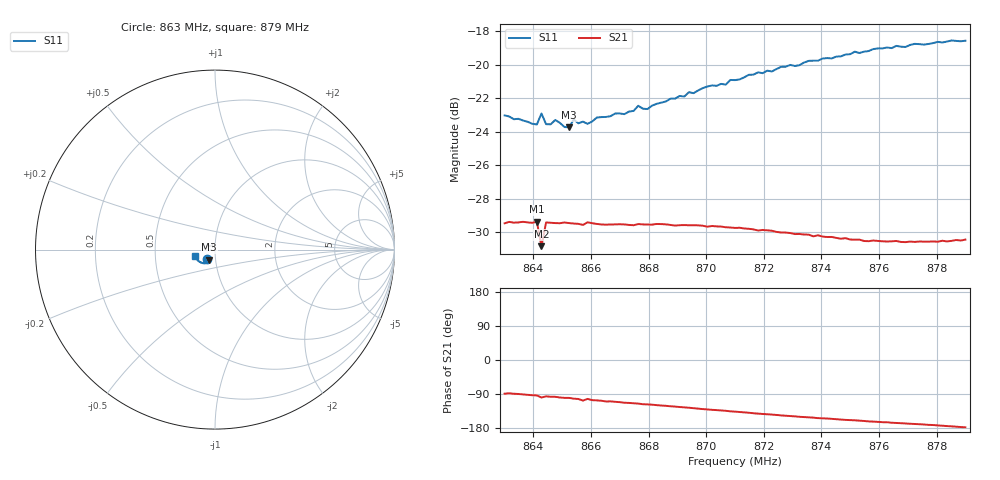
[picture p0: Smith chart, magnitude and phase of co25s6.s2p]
# HZ S RI R 50
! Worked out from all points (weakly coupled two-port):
!   101 points, 863 MHz to 879 MHz, reference 50 ohm
!   highest |S21| = -29.36 dB at 864.12 MHz (marker M1); lowest = -30.8 dB at 864.28 MHz (marker M2)
!   lowest |S11| = -23.7 dB at 865.24 MHz (marker M3), VSWR 1.14, Z = 46.6 - j5.26 ohm
!   |S11| at or under -10 dB: start of sweep to end of sweep
!   S12 and S22 are empty: the file has one direction only
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8.63e8  -0.044 -0.0551  0.000673 -0.0336  0 0  0 0
8.6412e8  -0.0382 -0.0542  -0.0021 -0.034  0 0  0 0
8.6428e8  -0.0431 -0.057  -0.0045 -0.0284  0 0  0 0
8.6444e8  -0.0392 -0.0536  -0.00352 -0.0337  0 0  0 0
8.646e8  -0.0378 -0.0546  -0.00419 -0.0335  0 0  0 0
8.6476e8  -0.0373 -0.0573  -0.0042 -0.0334  0 0  0 0
8.6524e8  -0.0327 -0.0562  -0.00588 -0.0332  0 0  0 0
8.654e8  -0.0369 -0.0578  -0.00696 -0.0329  0 0  0 0
8.6556e8  -0.036 -0.0563  -0.00747 -0.0327  0 0  0 0
8.6572e8  -0.0342 -0.0583  -0.00977 -0.0318  0 0  0 0
8.6588e8  -0.0315 -0.0586  -0.00743 -0.0331  0 0  0 0
8.662e8  -0.0341 -0.0606  -0.00952 -0.0321  0 0  0 0
8.6716e8  -0.0339 -0.0626  -0.0129 -0.0308  0 0  0 0
8.6748e8  -0.0341 -0.0643  -0.0136 -0.0303  0 0  0 0
8.6764e8  -0.0351 -0.0667  -0.0142 -0.0303  0 0  0 0
8.6796e8  -0.0344 -0.0652  -0.0152 -0.0297  0 0  0 0
8.6844e8  -0.0358 -0.0681  -0.0168 -0.029  0 0  0 0
8.71e8  -0.0499 -0.0747  -0.0235 -0.0226  0 0  0 0
8.7372e8  -0.0699 -0.0752  -0.0272 -0.0144  0 0  0 0
8.7516e8  -0.0849 -0.0687  -0.0281 -0.0107  0 0  0 0
8.7644e8  -0.0939 -0.0609  -0.0288 -0.00741  0 0  0 0
8.79e8  -0.1115 -0.0378  -0.0301 -0.00122  0 0  0 0
